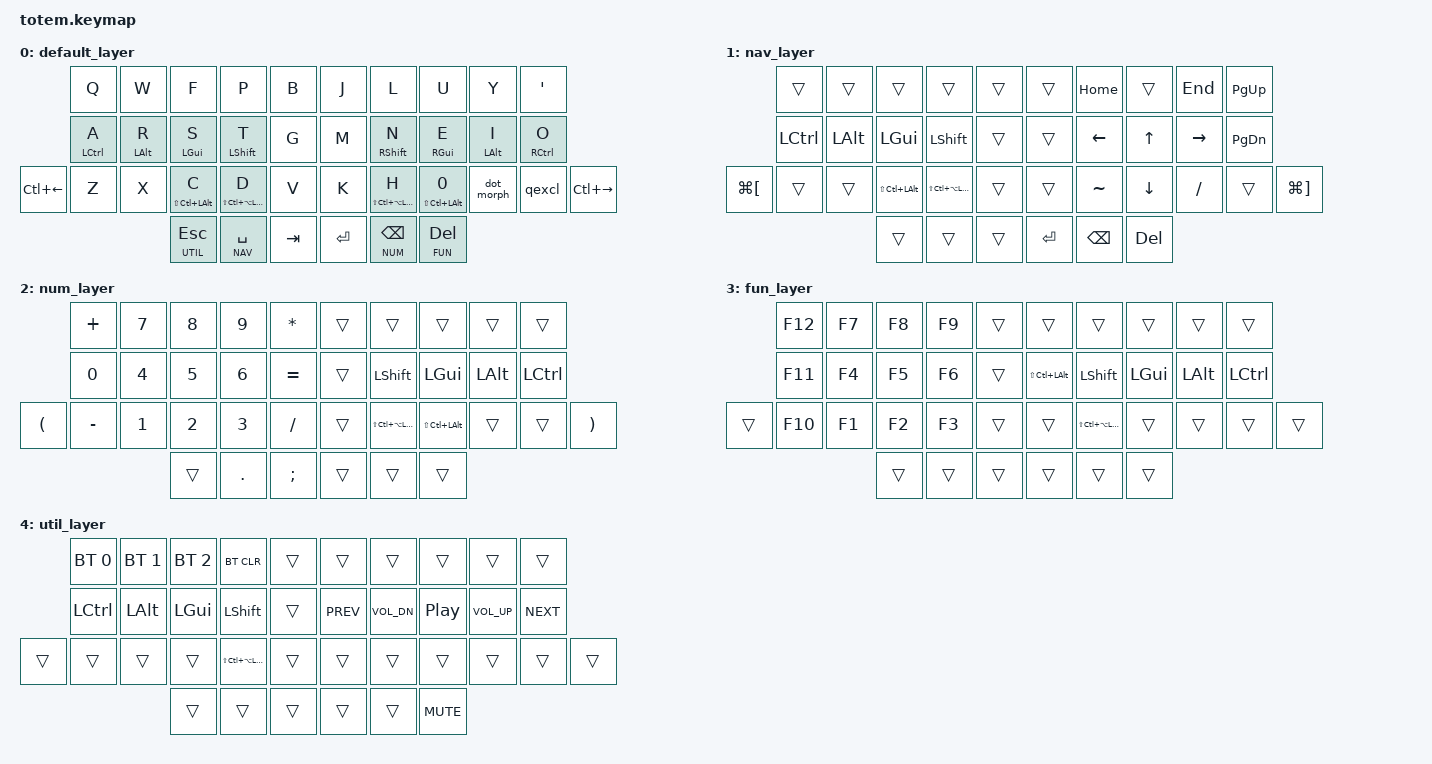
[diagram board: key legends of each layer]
// Copyright (c) 2022 The ZMK Contributors
// SPDX-License-Identifier: MIT

#include "../zmk-nodefree-config/helper.h"
#include "../zmk-nodefree-config/keypos_def/keypos_38keys.h"
#include <behaviors.dtsi>
#include <dt-bindings/zmk/keys.h>
#include <dt-bindings/zmk/bt.h>

#define XXX &none
#define TODO ___
#define ___ &trans

// Layer Defines
#define BASE 0
#define NAV 1
#define NUM 2
#define FUN 3
#define UTIL 4

#include "combos.dtsi"

// navigation bindings for back/forward and prev tab/next tab
#define BACK &kp LG(LBKT)
#define FWD &kp LG(RBKT)

// Navigation bindings for next/previous desktop on OSX. 
#define NEXT_DESK &kp LC(RIGHT)
#define PREV_DESK &kp LC(LEFT)

// hyper and meh keys
#define HYP LS(LC(LA(LGUI)))
#define MEH LS(LC(LALT))

/* ------------------------ general config ----------------------- */

#define QUICK_TAP_MS 175

// smart-layer config
&caps_word {  
    // /delete-property/ ignore-modifiers; // mods deactivate, requires PR #1451
    /delete-property/ ignore-numbers;
    continue-list = <BACKSPACE ENTER DELETE UNDERSCORE MINUS>;
};

// key-repeat config
&key_repeat {
    usage-pages = <HID_USAGE_KEY HID_USAGE_CONSUMER>; // repeat all keys
};

// sticky key aka 'one-shot mods'
&sk {
    release-after-ms = <2000>;
    quick-release;
};

// default layer-tap config
&lt {  
    flavor = "balanced";
    tapping-term-ms = <200>;
    quick-tap-ms = <QUICK_TAP_MS>;
};

#define KEYS_L LT0 LT1 LT2 LT3 LT4 LM0 LM1 LM2 LM3 LM4 LB0 LB1 LB2 LB3 LB4  // left hand
#define KEYS_R RT0 RT1 RT2 RT3 RT4 RM0 RM1 RM2 RM3 RM4 RB0 RB1 RB2 RB3 RB4  // right hand
#define THUMBS LH2 LH1 LH0 RH0 RH1 RH2                                      // thumbs

// Home Row Mods (HRM) ///////////////////////////////////

    #define MAKE_HRM(NAME, HOLD, TAP, TRIGGER_POS) \
        ZMK_BEHAVIOR(NAME, hold_tap, \
            flavor = "balanced"; \
            tapping-term-ms = <280>; \
            quick-tap-ms = <QUICK_TAP_MS>; \
            require-prior-idle-ms = <150>; \
            bindings = <HOLD>, <TAP>; \
            hold-trigger-key-positions = <TRIGGER_POS>; \
            hold-trigger-on-release; \
        )

    MAKE_HRM(hml, &kp, &kp, KEYS_R THUMBS)  // left-hand HRMs
    MAKE_HRM(hmr, &kp, &kp, KEYS_L THUMBS)  // right-hand HRMs

    // special HRMs for the right meh key, as it involves a modmorph
    MAKE_HRM(hmr_meh, &kp, &comma_morph, KEYS_L THUMBS)
    // MAKE_HRM(hmr_lpar, &kp, &lpar, KEYS_L THUMBS)    // "    "   "   "
    // MAKE_HRM(hmr_rpar, &kp, &rpar, KEYS_L THUMBS)    // "    "   "   "

// mod_morph keys //////////////////////////////////////////

    // tap: qmark | shift + tap: excl
    ZMK_BEHAVIOR(qexcl, mod_morph,
        bindings = <&kp QMARK>, <&kp EXCL>;
        mods = <(MOD_LSFT|MOD_RSFT)>;
    )

    // tap: comma | shift + tap: semicolon 
    ZMK_BEHAVIOR(comma_morph, mod_morph,
        bindings = <&kp COMMA>, <&kp SEMICOLON>;
        mods = <(MOD_LSFT|MOD_RSFT)>;
    )

    // tap: dot | shift + tap: colon 
    ZMK_BEHAVIOR(dot_morph, mod_morph,
        bindings = <&kp DOT>, <&kp COLON>;
        mods = <(MOD_LSFT|MOD_RSFT)>;
    )

/ {
    keymap {
        compatible = "zmk,keymap";
        default_layer { // ColemakDHm
            bindings = <
//              ┏━━━━━━━━━━━━━━┳━━━━━━━━━━━━━━┳━━━━━━━━━━━━━━┳━━━━━━━━━━━━━━━┳━━━━━━━━━━━━┓  ┏━━━━━━━━━━━━┳━━━━━━━━━━━━━━┳━━━━━━━━━━━━━━━━┳━━━━━━━━━━━━━━┳━━━━━━━━━━━━━━━┓
                  &kp Q          &kp W          &kp F          &kp P           &kp B           &kp J        &kp L          &kp U            &kp Y          &kp APOS 
//              ┣━━━━━━━━━━━━━━╋━━━━━━━━━━━━━━╋━━━━━━━━━━━━━━╋━━━━━━━━━━━━━━━╋━━━━━━━━━━━━┫  ┣━━━━━━━━━━━━╋━━━━━━━━━━━━━━╋━━━━━━━━━━━━━━━━╋━━━━━━━━━━━━━━╋━━━━━━━━━━━━━━━┫
                  &hml LCTRL A   &hml LALT R    &hml LGUI S    &hml LSHFT T    &kp G           &kp M        &hmr RSHFT N   &hmr RGUI E      &hmr LALT I    &hmr RCTRL O
// ┏━━━━━━━━━━━━╋━━━━━━━━━━━━━━╋━━━━━━━━━━━━━━╋━━━━━━━━━━━━━━╋━━━━━━━━━━━━━━━╋━━━━━━━━━━━━┫  ┣━━━━━━━━━━━━╋━━━━━━━━━━━━━━╋━━━━━━━━━━━━━━━━╋━━━━━━━━━━━━━━╋━━━━━━━━━━━━━━━╋━━━━━━━━━━━┓
     PREV_DESK    &kp Z          &kp X          &hml MEH C     &hml HYP D      &kp V           &kp K        &hmr HYP H     &hmr_meh MEH 0   &dot_morph     &qexcl          NEXT_DESK
// ┗━━━━━━━━━━━━┻━━━━━━━━━━━━━━┻━━━━━━━━━━━━━━╋━━━━━━━━━━━━━━╋━━━━━━━━━━━━━━━╋━━━━━━━━━━━━┫  ┣━━━━━━━━━━━━╋━━━━━━━━━━━━━━╋━━━━━━━━━━━━━━━━╋━━━━━━━━━━━━━━┻━━━━━━━━━━━━━━━┻━━━━━━━━━━━┛
                                                &lt UTIL ESC   &lt NAV SPACE   &kp TAB       &kp RET      &lt NUM BSPC   &lt FUN DEL
//                                            ┗━━━━━━━━━━━━━━┻━━━━━━━━━━━━━━━┻━━━━━━━━━━━━┛  ┗━━━━━━━━━━━━┻━━━━━━━━━━━━━━┻━━━━━━━━━━━━━━━━┛
            >;
        };
        nav_layer { 
            bindings = <
//              ┏━━━━━━━━━━━━━━┳━━━━━━━━━━━━━━┳━━━━━━━━━━━━━━┳━━━━━━━━━━━━━━━┳━━━━━━━━━━━━┓  ┏━━━━━━━━━━━━┳━━━━━━━━━━━━━━┳━━━━━━━━━━━━━━━━┳━━━━━━━━━━━━━━┳━━━━━━━━━━━━━━━┓
                  ___            ___            ___            ___             ___             ___          &kp HOME       ___              &kp END        &kp PAGE_UP 
//              ┣━━━━━━━━━━━━━━╋━━━━━━━━━━━━━━╋━━━━━━━━━━━━━━╋━━━━━━━━━━━━━━━╋━━━━━━━━━━━━┫  ┣━━━━━━━━━━━━╋━━━━━━━━━━━━━━╋━━━━━━━━━━━━━━━━╋━━━━━━━━━━━━━━╋━━━━━━━━━━━━━━━┫
                  &kp LCTRL      &kp LALT       &kp LGUI       &kp LSHFT       ___             ___          &kp LEFT       &kp UP           &kp RIGHT      &kp PAGE_DOWN
// ┏━━━━━━━━━━━━╋━━━━━━━━━━━━━━╋━━━━━━━━━━━━━━╋━━━━━━━━━━━━━━╋━━━━━━━━━━━━━━━╋━━━━━━━━━━━━┫  ┣━━━━━━━━━━━━╋━━━━━━━━━━━━━━╋━━━━━━━━━━━━━━━━╋━━━━━━━━━━━━━━╋━━━━━━━━━━━━━━━╋━━━━━━━━━━━┓
     BACK         ___            ___            &kp MEH        &kp HYP         ___             ___          &kp TILDE      &kp DOWN         &kp FSLH       ___             FWD
// ┗━━━━━━━━━━━━┻━━━━━━━━━━━━━━┻━━━━━━━━━━━━━━╋━━━━━━━━━━━━━━╋━━━━━━━━━━━━━━━╋━━━━━━━━━━━━┫  ┣━━━━━━━━━━━━╋━━━━━━━━━━━━━━╋━━━━━━━━━━━━━━━━╋━━━━━━━━━━━━━━┻━━━━━━━━━━━━━━━┻━━━━━━━━━━━┛
                                                ___            ___             ___             &kp RET      &kp BSPC       &kp DEL
//                                            ┗━━━━━━━━━━━━━━┻━━━━━━━━━━━━━━━┻━━━━━━━━━━━━┛  ┗━━━━━━━━━━━━┻━━━━━━━━━━━━━━┻━━━━━━━━━━━━━━━━┛
            >;
        }; 
        num_layer {
            bindings = <
//              ┏━━━━━━━━━━━━━━┳━━━━━━━━━━━━━━┳━━━━━━━━━━━━━━┳━━━━━━━━━━━━━━━┳━━━━━━━━━━━━┓  ┏━━━━━━━━━━━━┳━━━━━━━━━━━━━━┳━━━━━━━━━━━━━━━━┳━━━━━━━━━━━━━━┳━━━━━━━━━━━━━━━┓
                  &kp PLUS       &kp N7         &kp N8         &kp  N9         &kp STAR        ___          ___            ___              ___            ___ 
//              ┣━━━━━━━━━━━━━━╋━━━━━━━━━━━━━━╋━━━━━━━━━━━━━━╋━━━━━━━━━━━━━━━╋━━━━━━━━━━━━┫  ┣━━━━━━━━━━━━╋━━━━━━━━━━━━━━╋━━━━━━━━━━━━━━━━╋━━━━━━━━━━━━━━╋━━━━━━━━━━━━━━━┫
                  &kp N0         &kp N4         &kp N5         &kp  N6         &kp EQUAL       ___          &kp LSHFT      &kp LGUI         &kp LALT       &kp LCTRL
// ┏━━━━━━━━━━━━╋━━━━━━━━━━━━━━╋━━━━━━━━━━━━━━╋━━━━━━━━━━━━━━╋━━━━━━━━━━━━━━━╋━━━━━━━━━━━━┫  ┣━━━━━━━━━━━━╋━━━━━━━━━━━━━━╋━━━━━━━━━━━━━━━━╋━━━━━━━━━━━━━━╋━━━━━━━━━━━━━━━╋━━━━━━━━━━━┓
     &kp LPAR     &kp MINUS      &kp N1         &kp N2         &kp  N3         &kp FSLH        ___          &kp HYP        &kp MEH          ___            ___             &kp RPAR
// ┗━━━━━━━━━━━━┻━━━━━━━━━━━━━━┻━━━━━━━━━━━━━━╋━━━━━━━━━━━━━━╋━━━━━━━━━━━━━━━╋━━━━━━━━━━━━┫  ┣━━━━━━━━━━━━╋━━━━━━━━━━━━━━╋━━━━━━━━━━━━━━━━╋━━━━━━━━━━━━━━┻━━━━━━━━━━━━━━━┻━━━━━━━━━━━┛
                                                ___            &kp  DOT        &kp SEMI        ___          ___            ___
//                                            ┗━━━━━━━━━━━━━━┻━━━━━━━━━━━━━━━┻━━━━━━━━━━━━┛  ┗━━━━━━━━━━━━┻━━━━━━━━━━━━━━┻━━━━━━━━━━━━━━━━┛
            >;
        };
        fun_layer {
            bindings = <
//              ┏━━━━━━━━━━━━━━┳━━━━━━━━━━━━━━┳━━━━━━━━━━━━━━┳━━━━━━━━━━━━━━━┳━━━━━━━━━━━━┓  ┏━━━━━━━━━━━━┳━━━━━━━━━━━━━━┳━━━━━━━━━━━━━━━━┳━━━━━━━━━━━━━━┳━━━━━━━━━━━━━━━┓
                  &kp F12        &kp F7         &kp F8         &kp F9          ___             ___          ___            ___              ___            ___
//              ┣━━━━━━━━━━━━━━╋━━━━━━━━━━━━━━╋━━━━━━━━━━━━━━╋━━━━━━━━━━━━━━━╋━━━━━━━━━━━━┫  ┣━━━━━━━━━━━━╋━━━━━━━━━━━━━━╋━━━━━━━━━━━━━━━━╋━━━━━━━━━━━━━━╋━━━━━━━━━━━━━━━┫
                  &kp F11        &kp F4         &kp F5         &kp F6          ___             &kp MEH      &kp LSHFT      &kp LGUI         &kp LALT       &kp LCTRL
// ┏━━━━━━━━━━━━╋━━━━━━━━━━━━━━╋━━━━━━━━━━━━━━╋━━━━━━━━━━━━━━╋━━━━━━━━━━━━━━━╋━━━━━━━━━━━━┫  ┣━━━━━━━━━━━━╋━━━━━━━━━━━━━━╋━━━━━━━━━━━━━━━━╋━━━━━━━━━━━━━━╋━━━━━━━━━━━━━━━╋━━━━━━━━━━━┓
     ___          &kp F10        &kp F1         &kp F2         &kp F3          ___             ___          &kp HYP        ___              ___            ___             ___
// ┗━━━━━━━━━━━━┻━━━━━━━━━━━━━━┻━━━━━━━━━━━━━━╋━━━━━━━━━━━━━━╋━━━━━━━━━━━━━━━╋━━━━━━━━━━━━┫  ┣━━━━━━━━━━━━╋━━━━━━━━━━━━━━╋━━━━━━━━━━━━━━━━╋━━━━━━━━━━━━━━┻━━━━━━━━━━━━━━━┻━━━━━━━━━━━┛
                                                ___            ___             ___             ___          ___            ___
//                                            ┗━━━━━━━━━━━━━━┻━━━━━━━━━━━━━━━┻━━━━━━━━━━━━┛  ┗━━━━━━━━━━━━┻━━━━━━━━━━━━━━┻━━━━━━━━━━━━━━━━┛
            >;
        };
        util_layer {
            bindings = <
//              ┏━━━━━━━━━━━━━━┳━━━━━━━━━━━━━━┳━━━━━━━━━━━━━━┳━━━━━━━━━━━━━━━┳━━━━━━━━━━━━┓  ┏━━━━━━━━━━━━┳━━━━━━━━━━━━━━┳━━━━━━━━━━━━━━━━┳━━━━━━━━━━━━━━┳━━━━━━━━━━━━━━━┓
                  &bt BT_SEL 0   &bt BT_SEL 1   &bt BT_SEL 2   &bt BT_CLR      ___             ___          ___            ___              ___            ___
//              ┣━━━━━━━━━━━━━━╋━━━━━━━━━━━━━━╋━━━━━━━━━━━━━━╋━━━━━━━━━━━━━━━╋━━━━━━━━━━━━┫  ┣━━━━━━━━━━━━╋━━━━━━━━━━━━━━╋━━━━━━━━━━━━━━━━╋━━━━━━━━━━━━━━╋━━━━━━━━━━━━━━━┫
                  &kp LCTRL      &kp LALT       &kp LGUI       &kp LSHFT       ___             &kp C_PREV   &kp C_VOL_DN   &kp C_PP         &kp C_VOL_UP   &kp C_NEXT 
// ┏━━━━━━━━━━━━╋━━━━━━━━━━━━━━╋━━━━━━━━━━━━━━╋━━━━━━━━━━━━━━╋━━━━━━━━━━━━━━━╋━━━━━━━━━━━━┫  ┣━━━━━━━━━━━━╋━━━━━━━━━━━━━━╋━━━━━━━━━━━━━━━━╋━━━━━━━━━━━━━━╋━━━━━━━━━━━━━━━╋━━━━━━━━━━━┓
     ___          ___            ___            ___            &kp HYP         ___             ___          ___            ___              ___            ___             ___
// ┗━━━━━━━━━━━━┻━━━━━━━━━━━━━━┻━━━━━━━━━━━━━━╋━━━━━━━━━━━━━━╋━━━━━━━━━━━━━━━╋━━━━━━━━━━━━┫  ┣━━━━━━━━━━━━╋━━━━━━━━━━━━━━╋━━━━━━━━━━━━━━━━╋━━━━━━━━━━━━━━┻━━━━━━━━━━━━━━━┻━━━━━━━━━━━┛
                                                ___            ___             ___             ___          ___            &kp C_MUTE
//                                            ┗━━━━━━━━━━━━━━┻━━━━━━━━━━━━━━━┻━━━━━━━━━━━━┛  ┗━━━━━━━━━━━━┻━━━━━━━━━━━━━━┻━━━━━━━━━━━━━━━━┛
            >;
        };  
    };
};
    
/* --------------------------------- combos --------------------------------- */
/*
   ╭────────────────────┬────────────────────╮     ╭─────────────────────┬─────────────────────╮
   │  0   1   2   3   4 │  5   6   7   8   9 │     │ LT4 LT3 LT2 LT1 LT0 │ RT0 RT1 RT2 RT3 RT4 │
   │ 10  11  12  13  14 │ 15  16  17  18  19 │     │ LM4 LM3 LM2 LM1 LM0 │ RM0 RM1 RM2 RM3 RM4 │
  20 21  22  23  24  25 │ 26  27  28  29  30 31  LB5 LB4 LB3 LB2 LB1 LB0 │ RB0 RB1 RB2 RB3 RB4 RB5
   ╰───────╮ 32  33  34 │ 35  36  37 ╭───────╯     ╰───────╮ LH2 LH1 LH0 │ RH0 RH1 RH2 ╭───────╯
           ╰────────────┴────────────╯                     ╰─────────────┴─────────────╯             */
// use global-quick-tap-ms for combos (requires PR 1387)
